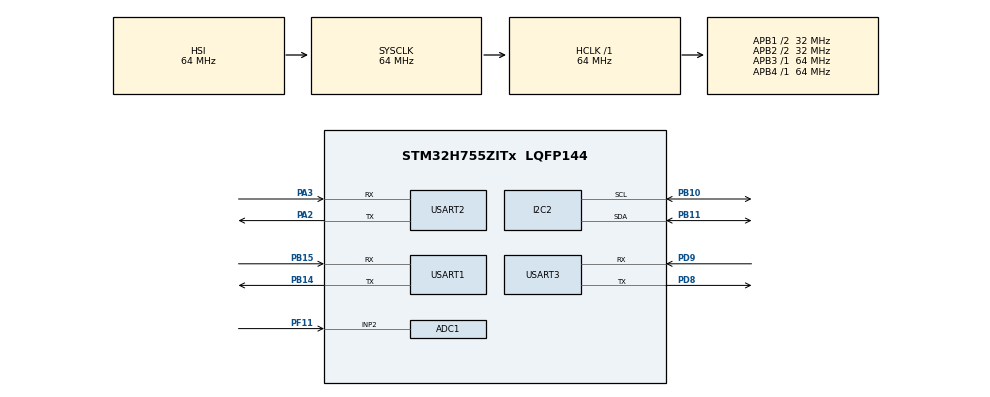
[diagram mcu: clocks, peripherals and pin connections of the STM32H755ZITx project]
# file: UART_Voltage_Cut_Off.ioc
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ADC1.Channel-1\#ChannelRegularConversion=ADC_CHANNEL_2
ADC1.NbrOfConversionFlag=1
ADC1.OffsetNumber-1\#ChannelRegularConversion=ADC_OFFSET_NONE
ADC1.OffsetSignedSaturation-1\#ChannelRegularConversion=DISABLE
ADC1.Rank-1\#ChannelRegularConversion=1
ADC1.SamplingTime-1\#ChannelRegularConversion=ADC_SAMPLETIME_1CYCLE_5
ADC1.master=1
CORTEX_M7.default_mode_Activation=1
CortexM4.IPs=BDMA,CORTEX_M4\:I,DMA,FATFS_M4\:I,FREERTOS_M4\:I,GPIO,IWDG2\:I,MDMA,NVIC2\:I,OPENAMP_M4\:I,PDM2PCM_M4\:I,PWR,RCC,RESMGR_UTILITY,SYS_M4\:I,USB_DEVICE_M4\:I,USB_HOST_M4\:I,VREFBUF,WWDG2\:I
CortexM7.IPs=BDMA\:I,CORTEX_M7\:I,DMA\:I,FATFS_M7\:I,FREERTOS_M7\:I,GPIO\:I,IWDG1\:I,MDMA\:I,NVIC1\:I,OPENAMP_M7\:I,PDM2PCM_M7\:I,PWR\:I,RCC\:I,RESMGR_UTILITY\:I,SYS\:I,USB_DEVICE_M7\:I,USB_HOST_M7\:I,VREFBUF\:I,WWDG1\:I,MEMORYMAP\:I,ADC1\:I,USART3\:I,I2C2\:I,USART2\:I,USART1\:I
I2C2.Timing=0x00707CBB
Mcu.Family=STM32H7
Mcu.Name=STM32H755ZITx
Mcu.Package=LQFP144
NVIC1.PriorityGroup=NVIC_PRIORITYGROUP_4
NVIC2.PriorityGroup=NVIC_PRIORITYGROUP_4
PA2.Mode=Asynchronous
PA2.PinAttribute=CortexM7
PA2.Signal=USART2_TX
PA3.Mode=Asynchronous
PA3.PinAttribute=CortexM7
PA3.Signal=USART2_RX
PB10.Mode=I2C
PB10.PinAttribute=CortexM7
PB10.Signal=I2C2_SCL
PB11.Mode=I2C
PB11.PinAttribute=CortexM7
PB11.Signal=I2C2_SDA
PB14.Mode=Asynchronous
PB14.PinAttribute=CortexM7
PB14.Signal=USART1_TX
PB15.Mode=Asynchronous
PB15.PinAttribute=CortexM7
PB15.Signal=USART1_RX
PD8.Mode=Asynchronous
PD8.PinAttribute=CortexM7
PD8.Signal=USART3_TX
PD9.Mode=Asynchronous
PD9.PinAttribute=CortexM7
PD9.Signal=USART3_RX
PF11.Mode=IN2-Single-Ended
PF11.PinAttribute=CortexM7
PF11.Signal=ADC1_INP2
ProjectManager.HeapSize=M4-0x200,M7-0x200
ProjectManager.StackSize=M4-0x400,M7-0x400
ProjectManager.TargetToolchain=STM32CubeIDE
RCC.ADCFreq_Value=80000000
RCC.APB1Freq_Value=32000000
RCC.APB2Freq_Value=32000000
RCC.APB3Freq_Value=64000000
RCC.APB4Freq_Value=64000000
RCC.CortexFreq_Value=64000000
RCC.D2PPRE1=RCC_APB1_DIV2
RCC.D2PPRE2=RCC_APB2_DIV2
RCC.DIVM2=4
RCC.DIVN2=10
RCC.HCLKFreq_Value=64000000
RCC.PLL2FRACN=0
RCC.SYSCLKFreq_VALUE=64000000
RCC.USBFreq_Value=129000000
SYS.userName=SYS_M7
USART1.VirtualMode-Asynchronous=VM_ASYNC
USART2.VirtualMode-Asynchronous=VM_ASYNC
USART3.VirtualMode-Asynchronous=VM_ASYNC
VP_MEMORYMAP_VS_MEMORYMAP.Mode=CurAppReg
VP_SYS_M4_VS_Systick.Mode=SysTick
board=custom

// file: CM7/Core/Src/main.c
/* USER CODE BEGIN Header */
/**
  ******************************************************************************
  * @file           : main.c
  * @brief          : Main program body
  ******************************************************************************
  * @attention
  *
  * Copyright (c) 2025 STMicroelectronics.
  * All rights reserved.
  *
  * This software is licensed under terms that can be found in the LICENSE file
  * in the root directory of this software component.
  * If no LICENSE file comes with this software, it is provided AS-IS.
  *
  ******************************************************************************
  */
/* USER CODE END Header */
#include "main.h"

/* USER CODE BEGIN Includes */
#include <string.h>
#include <stdio.h>
/* USER CODE END Includes */

/* USER CODE BEGIN PD */

/* DUAL_CORE_BOOT_SYNC_SEQUENCE: Define for dual core boot synchronization    */
/*                             demonstration code based on hardware semaphore */
/* This define is present in both CM7/CM4 projects                            */
/* To comment when developping/debugging on a single core                     */
//#define DUAL_CORE_BOOT_SYNC_SEQUENCE

#if defined(DUAL_CORE_BOOT_SYNC_SEQUENCE)
#ifndef HSEM_ID_0
#define HSEM_ID_0 (0U) /* HW semaphore 0*/
#endif
#endif /* DUAL_CORE_BOOT_SYNC_SEQUENCE */

/* USER CODE END PD */

ADC_HandleTypeDef hadc1;

I2C_HandleTypeDef hi2c2;

UART_HandleTypeDef huart1;
UART_HandleTypeDef huart2;
UART_HandleTypeDef huart3;

/* USER CODE BEGIN PV */
uint8_t OutputBuffer[2];
uint8_t I2C_Register[1] = {02};
uint8_t AllClearByte[2] = {0x2, 0x0};
uint8_t ShutdownByte[2] = {0x2, 0x1};
const int scaling_factor = 250;

#define inaAddr 0x41
#define inaAddrShifted (inaAddr << 1)
/* USER CODE END PV */

void SystemClock_Config(void);
static void MPU_Config(void);
static void MX_GPIO_Init(void);
static void MX_ADC1_Init(void);
static void MX_USART3_UART_Init(void);
static void MX_I2C2_Init(void);
static void MX_USART2_UART_Init(void);
static void MX_USART1_UART_Init(void);

/* USER CODE BEGIN 0 */
void PrintOutputBuffer(uint8_t *OutputBuffer){
	int32_t StringLength;
	HAL_StatusTypeDef HALStatus;
	for(StringLength = 0; *(OutputBuffer+StringLength); StringLength++);
	HALStatus = HAL_UART_Transmit(&huart3, OutputBuffer, StringLength, HAL_MAX_DELAY);
	if(HALStatus != HAL_OK){
		Error_Handler();
	}
}

/* USER CODE END 0 */

int main(void)
{

/* USER CODE BEGIN Boot_Mode_Sequence_0 */
#if defined(DUAL_CORE_BOOT_SYNC_SEQUENCE)
  int32_t timeout;
#endif /* DUAL_CORE_BOOT_SYNC_SEQUENCE */
/* USER CODE END Boot_Mode_Sequence_0 */

  /* MPU Configuration--------------------------------------------------------*/
  MPU_Config();

/* USER CODE BEGIN Boot_Mode_Sequence_1 */
#if defined(DUAL_CORE_BOOT_SYNC_SEQUENCE)
  /* Wait until CPU2 boots and enters in stop mode or timeout*/
  timeout = 0xFFFF;
  while((__HAL_RCC_GET_FLAG(RCC_FLAG_D2CKRDY) != RESET) && (timeout-- > 0));
  if ( timeout < 0 )
  {
  Error_Handler();
  }
#endif /* DUAL_CORE_BOOT_SYNC_SEQUENCE */
/* USER CODE END Boot_Mode_Sequence_1 */
  /* MCU Configuration--------------------------------------------------------*/

  /* Reset of all peripherals, Initializes the Flash interface and the Systick. */
  HAL_Init();

  /* Configure the system clock */
  SystemClock_Config();
/* USER CODE BEGIN Boot_Mode_Sequence_2 */
#if defined(DUAL_CORE_BOOT_SYNC_SEQUENCE)
/* When system initialization is finished, Cortex-M7 will release Cortex-M4 by means of
HSEM notification */
/*HW semaphore Clock enable*/
__HAL_RCC_HSEM_CLK_ENABLE();
/*Take HSEM */
HAL_HSEM_FastTake(HSEM_ID_0);
/*Release HSEM in order to notify the CPU2(CM4)*/
HAL_HSEM_Release(HSEM_ID_0,0);
/* wait until CPU2 wakes up from stop mode */
timeout = 0xFFFF;
while((__HAL_RCC_GET_FLAG(RCC_FLAG_D2CKRDY) == RESET) && (timeout-- > 0));
if ( timeout < 0 )
{
Error_Handler();
}
#endif /* DUAL_CORE_BOOT_SYNC_SEQUENCE */
/* USER CODE END Boot_Mode_Sequence_2 */

  /* Initialize all configured peripherals */
  MX_GPIO_Init();
  MX_ADC1_Init();
  MX_USART3_UART_Init();
  MX_I2C2_Init();
  MX_USART2_UART_Init();
  MX_USART1_UART_Init();
  /* USER CODE BEGIN 2 */
  uint8_t printResults[100];
  /* USER CODE END 2 */

  /* Infinite loop */
  /* USER CODE BEGIN WHILE */
  while (1)
  {
	 HAL_I2C_Master_Transmit(&hi2c2, inaAddrShifted, (uint8_t *)I2C_Register, 2, 1000);
	 HAL_I2C_Master_Receive(&hi2c2, inaAddrShifted, (uint8_t *)OutputBuffer, 2, 1000);
	 float raw_voltage = (float)(((uint16_t)OutputBuffer[0] << 8 | (uint16_t)OutputBuffer[1]) >> 3);
	 float voltage =  raw_voltage / scaling_factor;
	 //sprintf(printResults, "Voltage reading 1: %d, byte 2: %d\r\n", OutputBuffer[0], OutputBuffer[1]);
	 //PrintOutputBuffer(printResults);
	 sprintf(printResults, "Voltage reading: %f\r\n", voltage);
	 PrintOutputBuffer(printResults);
	 if(voltage >= 14.8){
		 HAL_UART_Transmit(&huart1, AllClearByte, 2, HAL_MAX_DELAY);
	 }
	 else{
		 HAL_UART_Transmit(&huart1, ShutdownByte, 2, HAL_MAX_DELAY);
	 }
	  HAL_Delay(100);
    /* USER CODE END WHILE */

  }
}

void SystemClock_Config(void)
{
  RCC_OscInitTypeDef RCC_OscInitStruct = {0};
  RCC_ClkInitTypeDef RCC_ClkInitStruct = {0};

  /** Supply configuration update enable
  */
  HAL_PWREx_ConfigSupply(PWR_DIRECT_SMPS_SUPPLY);

  /** Configure the main internal regulator output voltage
  */
  __HAL_PWR_VOLTAGESCALING_CONFIG(PWR_REGULATOR_VOLTAGE_SCALE3);

  while(!__HAL_PWR_GET_FLAG(PWR_FLAG_VOSRDY)) {}

  /** Macro to configure the PLL clock source
  */
  __HAL_RCC_PLL_PLLSOURCE_CONFIG(RCC_PLLSOURCE_HSI);

  /** Initializes the RCC Oscillators according to the specified parameters
  * in the RCC_OscInitTypeDef structure.
  */
  RCC_OscInitStruct.OscillatorType = RCC_OSCILLATORTYPE_HSI;
  RCC_OscInitStruct.HSIState = RCC_HSI_DIV1;
  RCC_OscInitStruct.HSICalibrationValue = RCC_HSICALIBRATION_DEFAULT;
  RCC_OscInitStruct.PLL.PLLState = RCC_PLL_NONE;
  if (HAL_RCC_OscConfig(&RCC_OscInitStruct) != HAL_OK)
  {
    Error_Handler();
  }

  /** Initializes the CPU, AHB and APB buses clocks
  */
  RCC_ClkInitStruct.ClockType = RCC_CLOCKTYPE_HCLK|RCC_CLOCKTYPE_SYSCLK
                              |RCC_CLOCKTYPE_PCLK1|RCC_CLOCKTYPE_PCLK2
                              |RCC_CLOCKTYPE_D3PCLK1|RCC_CLOCKTYPE_D1PCLK1;
  RCC_ClkInitStruct.SYSCLKSource = RCC_SYSCLKSOURCE_HSI;
  RCC_ClkInitStruct.SYSCLKDivider = RCC_SYSCLK_DIV1;
  RCC_ClkInitStruct.AHBCLKDivider = RCC_HCLK_DIV1;
  RCC_ClkInitStruct.APB3CLKDivider = RCC_APB3_DIV1;
  RCC_ClkInitStruct.APB1CLKDivider = RCC_APB1_DIV2;
  RCC_ClkInitStruct.APB2CLKDivider = RCC_APB2_DIV2;
  RCC_ClkInitStruct.APB4CLKDivider = RCC_APB4_DIV1;

  if (HAL_RCC_ClockConfig(&RCC_ClkInitStruct, FLASH_LATENCY_1) != HAL_OK)
  {
    Error_Handler();
  }
}

static void MX_ADC1_Init(void)
{

  ADC_MultiModeTypeDef multimode = {0};
  ADC_ChannelConfTypeDef sConfig = {0};

  /** Common config
  */
  hadc1.Instance = ADC1;
  hadc1.Init.ClockPrescaler = ADC_CLOCK_ASYNC_DIV2;
  hadc1.Init.Resolution = ADC_RESOLUTION_16B;
  hadc1.Init.ScanConvMode = ADC_SCAN_DISABLE;
  hadc1.Init.EOCSelection = ADC_EOC_SINGLE_CONV;
  hadc1.Init.LowPowerAutoWait = DISABLE;
  hadc1.Init.ContinuousConvMode = DISABLE;
  hadc1.Init.NbrOfConversion = 1;
  hadc1.Init.DiscontinuousConvMode = DISABLE;
  hadc1.Init.ExternalTrigConv = ADC_SOFTWARE_START;
  hadc1.Init.ExternalTrigConvEdge = ADC_EXTERNALTRIGCONVEDGE_NONE;
  hadc1.Init.ConversionDataManagement = ADC_CONVERSIONDATA_DR;
  hadc1.Init.Overrun = ADC_OVR_DATA_PRESERVED;
  hadc1.Init.LeftBitShift = ADC_LEFTBITSHIFT_NONE;
  hadc1.Init.OversamplingMode = DISABLE;
  hadc1.Init.Oversampling.Ratio = 1;
  if (HAL_ADC_Init(&hadc1) != HAL_OK)
  {
    Error_Handler();
  }

  /** Configure the ADC multi-mode
  */
  multimode.Mode = ADC_MODE_INDEPENDENT;
  if (HAL_ADCEx_MultiModeConfigChannel(&hadc1, &multimode) != HAL_OK)
  {
    Error_Handler();
  }

  /** Configure Regular Channel
  */
  sConfig.Channel = ADC_CHANNEL_2;
  sConfig.Rank = ADC_REGULAR_RANK_1;
  sConfig.SamplingTime = ADC_SAMPLETIME_1CYCLE_5;
  sConfig.SingleDiff = ADC_SINGLE_ENDED;
  sConfig.OffsetNumber = ADC_OFFSET_NONE;
  sConfig.Offset = 0;
  sConfig.OffsetSignedSaturation = DISABLE;
  if (HAL_ADC_ConfigChannel(&hadc1, &sConfig) != HAL_OK)
  {
    Error_Handler();
  }

}

static void MX_I2C2_Init(void)
{

  hi2c2.Instance = I2C2;
  hi2c2.Init.Timing = 0x00707CBB;
  hi2c2.Init.OwnAddress1 = 0;
  hi2c2.Init.AddressingMode = I2C_ADDRESSINGMODE_7BIT;
  hi2c2.Init.DualAddressMode = I2C_DUALADDRESS_DISABLE;
  hi2c2.Init.OwnAddress2 = 0;
  hi2c2.Init.OwnAddress2Masks = I2C_OA2_NOMASK;
  hi2c2.Init.GeneralCallMode = I2C_GENERALCALL_DISABLE;
  hi2c2.Init.NoStretchMode = I2C_NOSTRETCH_DISABLE;
  if (HAL_I2C_Init(&hi2c2) != HAL_OK)
  {
    Error_Handler();
  }

  /** Configure Analogue filter
  */
  if (HAL_I2CEx_ConfigAnalogFilter(&hi2c2, I2C_ANALOGFILTER_ENABLE) != HAL_OK)
  {
    Error_Handler();
  }

  /** Configure Digital filter
  */
  if (HAL_I2CEx_ConfigDigitalFilter(&hi2c2, 0) != HAL_OK)
  {
    Error_Handler();
  }

}

static void MX_USART1_UART_Init(void)
{

  huart1.Instance = USART1;
  huart1.Init.BaudRate = 115200;
  huart1.Init.WordLength = UART_WORDLENGTH_8B;
  huart1.Init.StopBits = UART_STOPBITS_1;
  huart1.Init.Parity = UART_PARITY_NONE;
  huart1.Init.Mode = UART_MODE_TX_RX;
  huart1.Init.HwFlowCtl = UART_HWCONTROL_NONE;
  huart1.Init.OverSampling = UART_OVERSAMPLING_16;
  huart1.Init.OneBitSampling = UART_ONE_BIT_SAMPLE_DISABLE;
  huart1.Init.ClockPrescaler = UART_PRESCALER_DIV1;
  huart1.AdvancedInit.AdvFeatureInit = UART_ADVFEATURE_NO_INIT;
  if (HAL_UART_Init(&huart1) != HAL_OK)
  {
    Error_Handler();
  }
  if (HAL_UARTEx_SetTxFifoThreshold(&huart1, UART_TXFIFO_THRESHOLD_1_8) != HAL_OK)
  {
    Error_Handler();
  }
  if (HAL_UARTEx_SetRxFifoThreshold(&huart1, UART_RXFIFO_THRESHOLD_1_8) != HAL_OK)
  {
    Error_Handler();
  }
  if (HAL_UARTEx_DisableFifoMode(&huart1) != HAL_OK)
  {
    Error_Handler();
  }

}

static void MX_USART2_UART_Init(void)
{

  huart2.Instance = USART2;
  huart2.Init.BaudRate = 115200;
  huart2.Init.WordLength = UART_WORDLENGTH_8B;
  huart2.Init.StopBits = UART_STOPBITS_1;
  huart2.Init.Parity = UART_PARITY_NONE;
  huart2.Init.Mode = UART_MODE_TX_RX;
  huart2.Init.HwFlowCtl = UART_HWCONTROL_NONE;
  huart2.Init.OverSampling = UART_OVERSAMPLING_16;
  huart2.Init.OneBitSampling = UART_ONE_BIT_SAMPLE_DISABLE;
  huart2.Init.ClockPrescaler = UART_PRESCALER_DIV1;
  huart2.AdvancedInit.AdvFeatureInit = UART_ADVFEATURE_NO_INIT;
  if (HAL_UART_Init(&huart2) != HAL_OK)
  {
    Error_Handler();
  }
  if (HAL_UARTEx_SetTxFifoThreshold(&huart2, UART_TXFIFO_THRESHOLD_1_8) != HAL_OK)
  {
    Error_Handler();
  }
  if (HAL_UARTEx_SetRxFifoThreshold(&huart2, UART_RXFIFO_THRESHOLD_1_8) != HAL_OK)
  {
    Error_Handler();
  }
  if (HAL_UARTEx_DisableFifoMode(&huart2) != HAL_OK)
  {
    Error_Handler();
  }

}

static void MX_USART3_UART_Init(void)
{

  huart3.Instance = USART3;
  huart3.Init.BaudRate = 115200;
  huart3.Init.WordLength = UART_WORDLENGTH_8B;
  huart3.Init.StopBits = UART_STOPBITS_1;
  huart3.Init.Parity = UART_PARITY_NONE;
  huart3.Init.Mode = UART_MODE_TX_RX;
  huart3.Init.HwFlowCtl = UART_HWCONTROL_NONE;
  huart3.Init.OverSampling = UART_OVERSAMPLING_16;
  huart3.Init.OneBitSampling = UART_ONE_BIT_SAMPLE_DISABLE;
  huart3.Init.ClockPrescaler = UART_PRESCALER_DIV1;
  huart3.AdvancedInit.AdvFeatureInit = UART_ADVFEATURE_NO_INIT;
  if (HAL_UART_Init(&huart3) != HAL_OK)
  {
    Error_Handler();
  }
  if (HAL_UARTEx_SetTxFifoThreshold(&huart3, UART_TXFIFO_THRESHOLD_1_8) != HAL_OK)
  {
    Error_Handler();
  }
  if (HAL_UARTEx_SetRxFifoThreshold(&huart3, UART_RXFIFO_THRESHOLD_1_8) != HAL_OK)
  {
    Error_Handler();
  }
  if (HAL_UARTEx_DisableFifoMode(&huart3) != HAL_OK)
  {
    Error_Handler();
  }

}

static void MX_GPIO_Init(void)
{

  /* GPIO Ports Clock Enable */
  __HAL_RCC_GPIOA_CLK_ENABLE();
  __HAL_RCC_GPIOF_CLK_ENABLE();
  __HAL_RCC_GPIOB_CLK_ENABLE();
  __HAL_RCC_GPIOD_CLK_ENABLE();

}

 /* MPU Configuration */

void MPU_Config(void)
{
  MPU_Region_InitTypeDef MPU_InitStruct = {0};

  /* Disables the MPU */
  HAL_MPU_Disable();

  /** Initializes and configures the Region and the memory to be protected
  */
  MPU_InitStruct.Enable = MPU_REGION_ENABLE;
  MPU_InitStruct.Number = MPU_REGION_NUMBER0;
  MPU_InitStruct.BaseAddress = 0x0;
  MPU_InitStruct.Size = MPU_REGION_SIZE_4GB;
  MPU_InitStruct.SubRegionDisable = 0x87;
  MPU_InitStruct.TypeExtField = MPU_TEX_LEVEL0;
  MPU_InitStruct.AccessPermission = MPU_REGION_NO_ACCESS;
  MPU_InitStruct.DisableExec = MPU_INSTRUCTION_ACCESS_DISABLE;
  MPU_InitStruct.IsShareable = MPU_ACCESS_SHAREABLE;
  MPU_InitStruct.IsCacheable = MPU_ACCESS_NOT_CACHEABLE;
  MPU_InitStruct.IsBufferable = MPU_ACCESS_NOT_BUFFERABLE;

  HAL_MPU_ConfigRegion(&MPU_InitStruct);
  /* Enables the MPU */
  HAL_MPU_Enable(MPU_PRIVILEGED_DEFAULT);

}

void Error_Handler(void)
{
  __disable_irq();
  while (1)
  {
  }
}
